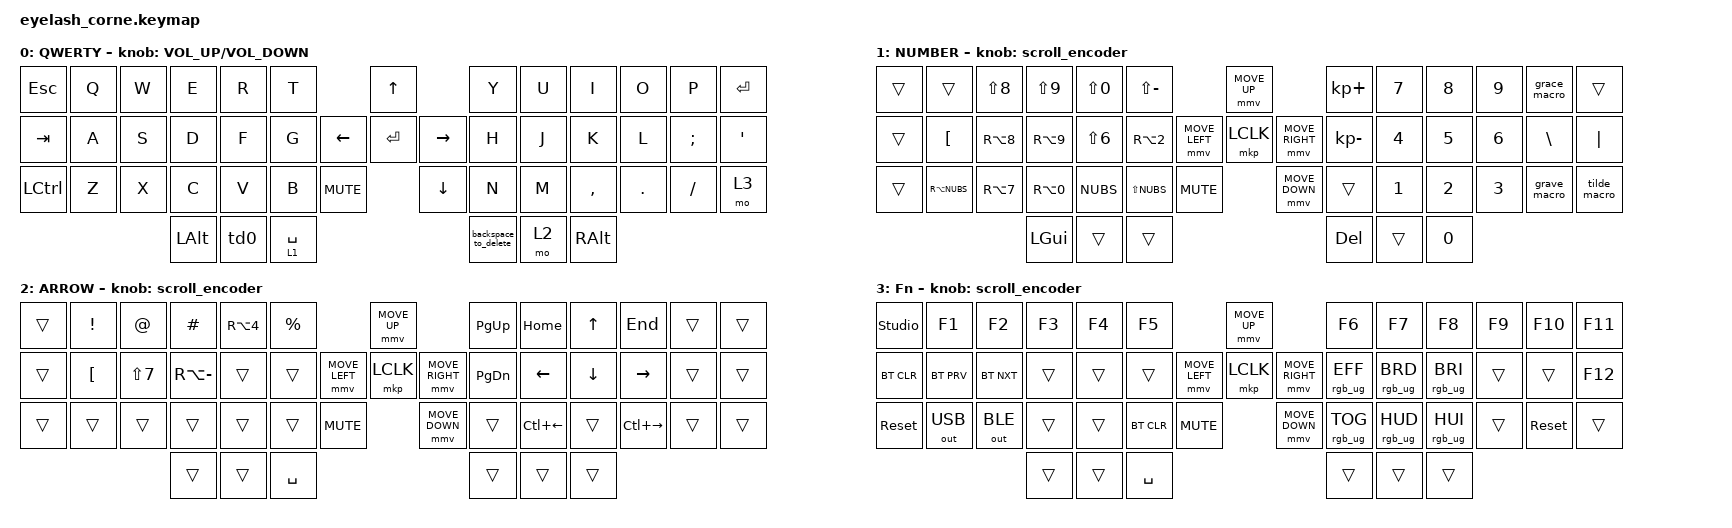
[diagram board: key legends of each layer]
#define ZMK_POINTING_DEFAULT_MOVE_VAL 1200  // 600
#define ZMK_POINTING_DEFAULT_SCRL_VAL 25   // 10

#include <input/processors.dtsi>
#include <zephyr/dt-bindings/input/input-event-codes.h>
#include <behaviors.dtsi>
#include <dt-bindings/zmk/bt.h>
#include <dt-bindings/zmk/keys.h>
#include <dt-bindings/zmk/outputs.h>
#include <dt-bindings/zmk/pointing.h>
#include <dt-bindings/zmk/rgb.h>

&mmv_input_listener { input-processors = <&zip_xy_scaler 2 1>; };

&msc_input_listener { input-processors = <&zip_scroll_scaler 2 1>; };

&msc {
    acceleration-exponent = <1>;      // 0
    time-to-max-speed-ms = <100>;       // 300
    delay-ms = <0>;                   // 0
};

&mmv {
    time-to-max-speed-ms = <500>;
    acceleration-exponent = <1>;
    trigger-period-ms = <16>;
};

/ {
    behaviors {
        td0: td0 {
            compatible = "zmk,behavior-tap-dance";
            display-name = "Shift/Caps Lock Tap Dance";
            #binding-cells = <0>;
            bindings = <&kp LEFT_SHIFT>, <&kp CAPS>;
        };

        tilde_macro: tilde_macro {
            compatible = "zmk,behavior-macro";
            label = "Tilde Macro";
            #binding-cells = <0>;
            bindings = <&kp RA(RIGHT_BRACKET) &kp SPACE>;
        };

        grace_macro: grace_macro {
            compatible = "zmk,behavior-macro";
            label = "Grace Macro";
            #binding-cells = <0>;
            bindings = <&kp LS(RIGHT_BRACKET) &kp SPACE>;
        };

        grave_macro: grave_macro {
            compatible = "zmk,behavior-macro";
            label = "Grave Macro";
            #binding-cells = <0>;
            bindings = <&kp LS(EQUAL) &kp SPACE>;
        };

        backspace_to_delete: backspace_to_delete {
            compatible = "zmk,behavior-mod-morph";
            #binding-cells = <0>;
            bindings = <&kp BACKSPACE>, <&kp LC(LA(DEL))>;
            mods = <(MOD_LCTL|MOD_LALT)>;
        };
    };

    rgb_encoder: rgb_encoder {
        compatible = "zmk,behavior-sensor-rotate";
        #sensor-binding-cells = <0>;
        bindings = <&rgb_ug RGB_BRI>, <&rgb_ug RGB_BRD>;
    };

    scroll_encoder: scroll_encoder {
        compatible = "zmk,behavior-sensor-rotate";     #sensor-binding-cells = <0>;
        bindings = <&msc SCRL_DOWN>, <&msc SCRL_UP>;

        tap-ms = <100>;
    };

    macros {
    };

    keymap {
        compatible = "zmk,keymap";

        default_layer {
            display-name = "QWERTY";
            bindings = <
&kp ESC     &kp Q  &kp W     &kp E       &kp R            &kp T                               &kp UP                &kp Y                       &kp U  &kp I      &kp O    &kp P     &kp ENTER
&kp TAB     &kp A  &kp S     &kp D       &kp F            &kp G                     &kp LEFT  &kp ENTER  &kp RIGHT  &kp H                       &kp J  &kp K      &kp L    &kp SEMI  &kp SQT
&kp LCTRL   &kp Z  &kp X     &kp C       &kp V            &kp B        &kp C_MUTE             &kp DOWN              &kp N                       &kp M  &kp COMMA  &kp DOT  &kp FSLH  &mo 3
                            &kp LALT    &td0             &lt 1 SPACE                                                &backspace_to_delete        &mo 2  &kp RALT
            >;

            sensor-bindings = <&inc_dec_kp C_VOLUME_UP C_VOLUME_DOWN>;
        };

        lower_layer {
            display-name = "NUMBER";
            bindings = <
&trans  &trans           &kp LS(N8)         &kp LS(N9)        &kp LS(N0)        &kp LS(MINUS)                                   &mmv MOVE_UP                        &kp KP_PLUS         &kp N7           &kp N8           &kp N9           &grace_macro        &trans
&trans  &kp LEFT_BRACKET &kp RA(N8)         &kp RA(N9)        &kp LS(N6)        &kp RA(N2)                      &mmv MOVE_LEFT  &mkp LCLK       &mmv MOVE_RIGHT     &kp KP_MINUS        &kp N4           &kp N5           &kp N6           &kp BACKSLASH       &kp PIPE
&trans  &kp RA(NUBS)     &kp RA(N7)         &kp RA(N0)        &kp NUBS          &kp LS(NUBS)      &kp C_MUTE                    &mmv MOVE_DOWN                      &trans              &kp N1           &kp N2           &kp N3           &grave_macro        &tilde_macro
                                            &kp LGUI          &trans            &trans                                                                              &kp DEL             &trans           &kp N0
            >;

            sensor-bindings = <&scroll_encoder>;
        };

        raise_layer {
            display-name = "ARROW";
            bindings = <
&trans          &kp EXCL            &kp AT          &kp HASH        &kp RA(N4)          &kp PRCNT                                           &mmv MOVE_UP                        &kp PAGE_UP     &kp HOME            &kp UP_ARROW        &kp END             &trans  &trans
&trans          &kp LEFT_BRACKET    &kp LS(N7)      &kp RA(MINUS)   &trans              &trans                              &mmv MOVE_LEFT  &mkp LCLK       &mmv MOVE_RIGHT     &kp PAGE_DOWN   &kp LEFT_ARROW      &kp DOWN_ARROW      &kp RIGHT_ARROW     &trans  &trans
&trans          &trans              &trans          &trans          &trans              &trans             &kp C_MUTE                       &mmv MOVE_DOWN                      &trans          &kp LC(LEFT_ARROW)  &trans              &kp LC(RIGHT_ARROW) &trans  &trans
                                                    &trans          &trans              &kp SPACE                                                                               &trans          &trans              &trans
            >;

            sensor-bindings = <&scroll_encoder>;
        };

        layer_3 {
            display-name = "Fn";
            bindings = <
&studio_unlock  &kp F1          &kp F2          &kp F3         &kp F4     &kp F5                                         &mmv MOVE_UP                       &kp F6              &kp F7             &kp F8              &kp F9              &kp F10             &kp F11
&bt BT_CLR      &bt BT_PRV      &bt BT_NXT      &trans         &trans     &trans                         &mmv MOVE_LEFT  &mkp LCLK       &mmv MOVE_RIGHT    &rgb_ug RGB_EFF     &rgb_ug RGB_BRD    &rgb_ug RGB_BRI     &trans              &trans              &kp F12
&sys_reset      &out OUT_USB    &out OUT_BLE    &trans         &trans     &bt BT_CLR     &kp C_MUTE                      &mmv MOVE_DOWN                     &rgb_ug RGB_TOG     &rgb_ug RGB_HUD    &rgb_ug RGB_HUI     &trans              &sys_reset          &trans
                                                &trans         &trans     &kp SPACE                                                                         &trans              &trans             &trans
            >;

            sensor-bindings = <&scroll_encoder>;
        };
    };
};
